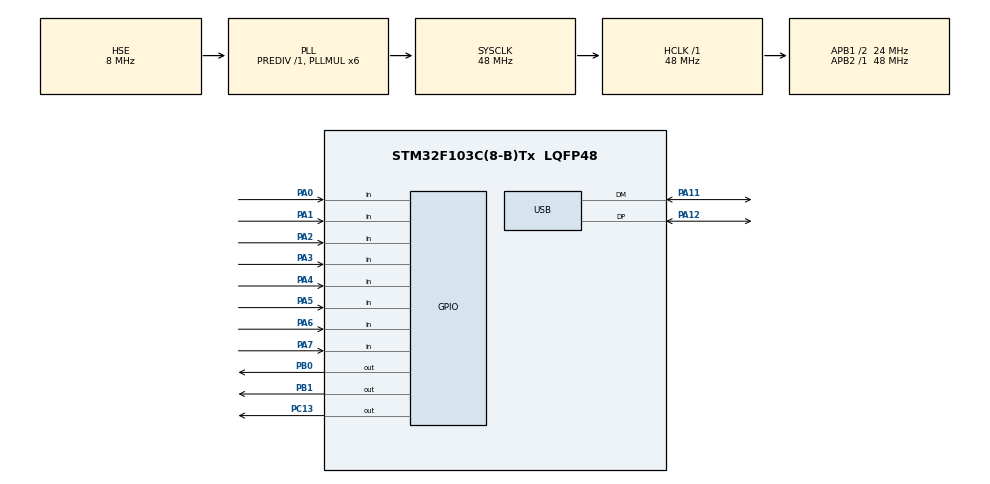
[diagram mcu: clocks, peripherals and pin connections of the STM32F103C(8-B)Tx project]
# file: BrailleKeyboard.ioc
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Mcu.Family=STM32F1
Mcu.Name=STM32F103C(8-B)Tx
Mcu.Package=LQFP48
NVIC.PriorityGroup=NVIC_PRIORITYGROUP_4
NVIC.USB_LP_CAN1_RX0_IRQn=true\:0\:0\:false\:false\:true\:false\:true\:true
PA0-WKUP.GPIO_PuPd=GPIO_PULLUP
PA0-WKUP.Signal=GPIO_Input
PA1.GPIO_PuPd=GPIO_PULLUP
PA1.Signal=GPIO_Input
PA11.Mode=Device
PA11.Signal=USB_DM
PA12.Mode=Device
PA12.Signal=USB_DP
PA13.Mode=Serial_Wire
PA13.Signal=SYS_JTMS-SWDIO
PA14.Mode=Serial_Wire
PA14.Signal=SYS_JTCK-SWCLK
PA2.GPIO_PuPd=GPIO_PULLUP
PA2.Signal=GPIO_Input
PA3.GPIO_PuPd=GPIO_PULLUP
PA3.Signal=GPIO_Input
PA4.GPIO_PuPd=GPIO_PULLUP
PA4.Signal=GPIO_Input
PA5.GPIO_PuPd=GPIO_PULLUP
PA5.Signal=GPIO_Input
PA6.GPIO_PuPd=GPIO_PULLUP
PA6.Signal=GPIO_Input
PA7.GPIO_PuPd=GPIO_PULLUP
PA7.Signal=GPIO_Input
PB0.Signal=GPIO_Output
PB1.Signal=GPIO_Output
PC13-TAMPER-RTC.Signal=GPIO_Output
PD0-OSC_IN.Mode=HSE-External-Oscillator
PD0-OSC_IN.Signal=RCC_OSC_IN
PD1-OSC_OUT.Mode=HSE-External-Oscillator
PD1-OSC_OUT.Signal=RCC_OSC_OUT
ProjectManager.HeapSize=0x200
ProjectManager.StackSize=0x400
ProjectManager.TargetToolchain=STM32CubeIDE
RCC.AHBFreq_Value=48000000
RCC.APB1CLKDivider=RCC_HCLK_DIV2
RCC.APB1Freq_Value=24000000
RCC.APB1TimFreq_Value=48000000
RCC.APB2Freq_Value=48000000
RCC.APB2TimFreq_Value=48000000
RCC.HCLKFreq_Value=48000000
RCC.PLLMUL=RCC_PLL_MUL6
RCC.SYSCLKFreq_VALUE=48000000
RCC.SYSCLKSource=RCC_SYSCLKSOURCE_PLLCLK
RCC.USBFreq_Value=48000000
USB_DEVICE.CLASS_NAME_FS=HID
USB_DEVICE.PRODUCT_STRING_HID_FS=BrailleKeyboard
USB_DEVICE.VirtualMode=Hid
USB_DEVICE.VirtualModeFS=Hid_FS
VP_USB_DEVICE_VS_USB_DEVICE_HID_FS.Mode=HID_FS
board=custom

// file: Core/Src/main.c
/* USER CODE BEGIN Header */
/**
  ******************************************************************************
  * @file           : main.c
  * @brief          : Main program body
  ******************************************************************************
  * @attention
  *
  * Copyright (c) 2024 STMicroelectronics.
  * All rights reserved.
  *
  * This software is licensed under terms that can be found in the LICENSE file
  * in the root directory of this software component.
  * If no LICENSE file comes with this software, it is provided AS-IS.
  *
  ******************************************************************************
  */
/* USER CODE END Header */
#include "main.h"
#include "usb_device.h"

/* USER CODE BEGIN PV */

extern USBD_HandleTypeDef hUsbDeviceFS;

/* USER CODE END PV */

void SystemClock_Config(void);
static void MX_GPIO_Init(void);

/* USER CODE BEGIN 0 */

typedef struct
{
	uint8_t MODIFIER;
	uint8_t RESERVED;
	uint8_t KEYCODE1;
	uint8_t KEYCODE2;
	uint8_t KEYCODE3;
	uint8_t KEYCODE4;
	uint8_t KEYCODE5;
	uint8_t KEYCODE6;
}subKeyBoard;

subKeyBoard keyBoardHIDsub = {0,0,0,0,0,0,0,0};

/* USER CODE END 0 */

int main(void)
{

  /* MCU Configuration--------------------------------------------------------*/

  /* Reset of all peripherals, Initializes the Flash interface and the Systick. */
  HAL_Init();

  /* Configure the system clock */
  SystemClock_Config();

  /* Initialize all configured peripherals */
  MX_GPIO_Init();
  MX_USB_DEVICE_Init();

  /* Infinite loop */
  /* USER CODE BEGIN WHILE */
  while (1)
  {

//	  HAL_GPIO_TogglePin(GPIOB, GPIO_PIN_0);
//	  HAL_Delay(300);
//	  HAL_GPIO_TogglePin(GPIOC, GPIO_PIN_13);
//	  HAL_Delay(300);
//		HAL_GPIO_WritePin(GPIOC, GPIO_PIN_13, GPIO_PIN_SET);

//	if(HAL_GPIO_ReadPin(GPIOA, GPIO_PIN_1)) {
////		keyBoardHIDsub.KEYCODE1=0x42-0x3D;
////		USBD_HID_SendReport(&hUsbDeviceFS,&keyBoardHIDsub,sizeof(keyBoardHIDsub));
//////		HAL_Delay(15);
////		keyBoardHIDsub.KEYCODE1=0x00;
////		USBD_HID_SendReport(&hUsbDeviceFS,&keyBoardHIDsub,sizeof(keyBoardHIDsub));
//////		HAL_Delay(1000);
//	}

	if(HAL_GPIO_ReadPin(GPIOA, GPIO_PIN_1) == GPIO_PIN_RESET)
	{
		HAL_Delay(100);
		keyBoardHIDsub.KEYCODE1=0x5A-0x3D;
		USBD_HID_SendReport(&hUsbDeviceFS,&keyBoardHIDsub,sizeof(keyBoardHIDsub));
		HAL_GPIO_WritePin(GPIOC, GPIO_PIN_13, 0);
	}
	else
	{

		keyBoardHIDsub.KEYCODE1=0x00;
		USBD_HID_SendReport(&hUsbDeviceFS,&keyBoardHIDsub,sizeof(keyBoardHIDsub));
		HAL_GPIO_WritePin(GPIOC, GPIO_PIN_13, 1);
	}

//	keyBoardHIDsub.KEYCODE1=0x5A-0x3D;
//	USBD_HID_SendReport(&hUsbDeviceFS,&keyBoardHIDsub,sizeof(keyBoardHIDsub));
//	HAL_Delay(15);
//	keyBoardHIDsub.KEYCODE1=0x00;
//	USBD_HID_SendReport(&hUsbDeviceFS,&keyBoardHIDsub,sizeof(keyBoardHIDsub));
//	HAL_Delay(1000);
    /* USER CODE END WHILE */

  }
}

void SystemClock_Config(void)
{
  RCC_OscInitTypeDef RCC_OscInitStruct = {0};
  RCC_ClkInitTypeDef RCC_ClkInitStruct = {0};
  RCC_PeriphCLKInitTypeDef PeriphClkInit = {0};

  /** Initializes the RCC Oscillators according to the specified parameters
  * in the RCC_OscInitTypeDef structure.
  */
  RCC_OscInitStruct.OscillatorType = RCC_OSCILLATORTYPE_HSE;
  RCC_OscInitStruct.HSEState = RCC_HSE_ON;
  RCC_OscInitStruct.HSEPredivValue = RCC_HSE_PREDIV_DIV1;
  RCC_OscInitStruct.HSIState = RCC_HSI_ON;
  RCC_OscInitStruct.PLL.PLLState = RCC_PLL_ON;
  RCC_OscInitStruct.PLL.PLLSource = RCC_PLLSOURCE_HSE;
  RCC_OscInitStruct.PLL.PLLMUL = RCC_PLL_MUL6;
  if (HAL_RCC_OscConfig(&RCC_OscInitStruct) != HAL_OK)
  {
    Error_Handler();
  }

  /** Initializes the CPU, AHB and APB buses clocks
  */
  RCC_ClkInitStruct.ClockType = RCC_CLOCKTYPE_HCLK|RCC_CLOCKTYPE_SYSCLK
                              |RCC_CLOCKTYPE_PCLK1|RCC_CLOCKTYPE_PCLK2;
  RCC_ClkInitStruct.SYSCLKSource = RCC_SYSCLKSOURCE_PLLCLK;
  RCC_ClkInitStruct.AHBCLKDivider = RCC_SYSCLK_DIV1;
  RCC_ClkInitStruct.APB1CLKDivider = RCC_HCLK_DIV2;
  RCC_ClkInitStruct.APB2CLKDivider = RCC_HCLK_DIV1;

  if (HAL_RCC_ClockConfig(&RCC_ClkInitStruct, FLASH_LATENCY_1) != HAL_OK)
  {
    Error_Handler();
  }
  PeriphClkInit.PeriphClockSelection = RCC_PERIPHCLK_USB;
  PeriphClkInit.UsbClockSelection = RCC_USBCLKSOURCE_PLL;
  if (HAL_RCCEx_PeriphCLKConfig(&PeriphClkInit) != HAL_OK)
  {
    Error_Handler();
  }
}

static void MX_GPIO_Init(void)
{
  GPIO_InitTypeDef GPIO_InitStruct = {0};

  /* GPIO Ports Clock Enable */
  __HAL_RCC_GPIOC_CLK_ENABLE();
  __HAL_RCC_GPIOD_CLK_ENABLE();
  __HAL_RCC_GPIOA_CLK_ENABLE();
  __HAL_RCC_GPIOB_CLK_ENABLE();

  /*Configure GPIO pin Output Level */
  HAL_GPIO_WritePin(GPIOC, GPIO_PIN_13, GPIO_PIN_RESET);

  /*Configure GPIO pin Output Level */
  HAL_GPIO_WritePin(GPIOB, GPIO_PIN_0|GPIO_PIN_1, GPIO_PIN_RESET);

  /*Configure GPIO pin : PC13 */
  GPIO_InitStruct.Pin = GPIO_PIN_13;
  GPIO_InitStruct.Mode = GPIO_MODE_OUTPUT_PP;
  GPIO_InitStruct.Pull = GPIO_NOPULL;
  GPIO_InitStruct.Speed = GPIO_SPEED_FREQ_LOW;
  HAL_GPIO_Init(GPIOC, &GPIO_InitStruct);

  /*Configure GPIO pins : PA0 PA1 PA2 PA3
                           PA4 PA5 PA6 PA7 */
  GPIO_InitStruct.Pin = GPIO_PIN_0|GPIO_PIN_1|GPIO_PIN_2|GPIO_PIN_3
                          |GPIO_PIN_4|GPIO_PIN_5|GPIO_PIN_6|GPIO_PIN_7;
  GPIO_InitStruct.Mode = GPIO_MODE_INPUT;
  GPIO_InitStruct.Pull = GPIO_PULLUP;
  HAL_GPIO_Init(GPIOA, &GPIO_InitStruct);

  /*Configure GPIO pins : PB0 PB1 */
  GPIO_InitStruct.Pin = GPIO_PIN_0|GPIO_PIN_1;
  GPIO_InitStruct.Mode = GPIO_MODE_OUTPUT_PP;
  GPIO_InitStruct.Pull = GPIO_NOPULL;
  GPIO_InitStruct.Speed = GPIO_SPEED_FREQ_LOW;
  HAL_GPIO_Init(GPIOB, &GPIO_InitStruct);

}

void Error_Handler(void)
{
  __disable_irq();
  while (1)
  {
  }
}
